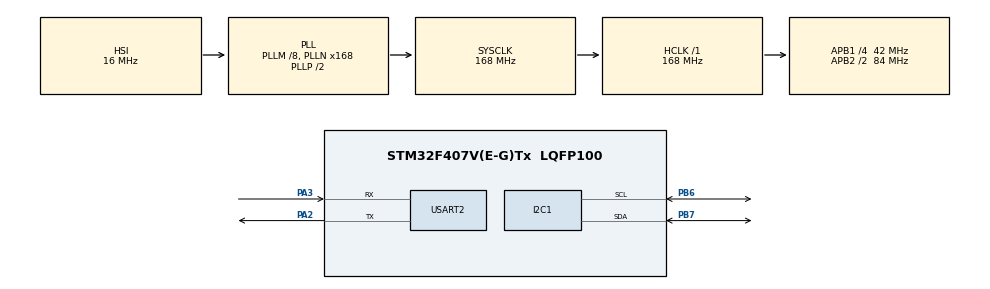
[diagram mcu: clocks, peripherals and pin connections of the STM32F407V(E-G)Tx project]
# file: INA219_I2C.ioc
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Mcu.Family=STM32F4
Mcu.Name=STM32F407V(E-G)Tx
Mcu.Package=LQFP100
NVIC.PriorityGroup=NVIC_PRIORITYGROUP_0
PA13.Mode=Serial_Wire
PA13.Signal=SYS_JTMS-SWDIO
PA14.Mode=Serial_Wire
PA14.Signal=SYS_JTCK-SWCLK
PA2.Mode=Asynchronous
PA2.Signal=USART2_TX
PA3.Mode=Asynchronous
PA3.Signal=USART2_RX
PB6.Mode=I2C
PB6.Signal=I2C1_SCL
PB7.Mode=I2C
PB7.Signal=I2C1_SDA
PC14-OSC32_IN.Mode=LSE-External-Oscillator
PC14-OSC32_IN.Signal=RCC_OSC32_IN
PC15-OSC32_OUT.Mode=LSE-External-Oscillator
PC15-OSC32_OUT.Signal=RCC_OSC32_OUT
PH0-OSC_IN.Mode=HSE-External-Oscillator
PH0-OSC_IN.Signal=RCC_OSC_IN
PH1-OSC_OUT.Mode=HSE-External-Oscillator
PH1-OSC_OUT.Signal=RCC_OSC_OUT
ProjectManager.HeapSize=0x200
ProjectManager.StackSize=0x400
ProjectManager.TargetToolchain=STM32CubeIDE
RCC.48MHZClocksFreq_Value=48000000
RCC.AHBFreq_Value=168000000
RCC.APB1CLKDivider=RCC_HCLK_DIV4
RCC.APB1Freq_Value=42000000
RCC.APB1TimFreq_Value=84000000
RCC.APB2CLKDivider=RCC_HCLK_DIV2
RCC.APB2Freq_Value=84000000
RCC.APB2TimFreq_Value=168000000
RCC.CortexFreq_Value=168000000
RCC.HCLKFreq_Value=168000000
RCC.HSE_VALUE=8000000
RCC.HSI_VALUE=16000000
RCC.PLLM=8
RCC.PLLN=168
RCC.PLLQ=7
RCC.SYSCLKFreq_VALUE=168000000
RCC.SYSCLKSource=RCC_SYSCLKSOURCE_PLLCLK
RCC.VCOOutputFreq_Value=336000000
USART2.VirtualMode=VM_ASYNC
board=STM32F407G-DISC1

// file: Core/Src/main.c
/* USER CODE BEGIN Header */
/**
  ******************************************************************************
  * @file           : main.c
  * @brief          : Main program body
  ******************************************************************************
  * @attention
  *
  * Copyright (c) 2026 STMicroelectronics.
  * All rights reserved.
  *
  * This software is licensed under terms that can be found in the LICENSE file
  * in the root directory of this software component.
  * If no LICENSE file comes with this software, it is provided AS-IS.
  *
  ******************************************************************************
  */
/* USER CODE END Header */
#include "main.h"

/* USER CODE BEGIN Includes */
#include <stdio.h>
#include <string.h>
/* USER CODE END Includes */

/* USER CODE BEGIN PD */
#define INA219_ADDR (0x40 << 1)
/* USER CODE END PD */

I2C_HandleTypeDef hi2c1;

UART_HandleTypeDef huart2;

/* USER CODE BEGIN PV */
float Voltage;
float Current;
float Power;
/* USER CODE END PV */

void SystemClock_Config(void);
static void MX_GPIO_Init(void);
static void MX_I2C1_Init(void);
static void MX_USART2_UART_Init(void);

/* USER CODE BEGIN 0 */
int _write(int file, char *ptr, int len)
{
    HAL_UART_Transmit(&huart2, (uint8_t *)ptr, len, HAL_MAX_DELAY);
    return len;
}

uint16_t INA219_ReadRegister(uint8_t reg)
{
    uint8_t data[2];
    uint16_t value;

    HAL_I2C_Mem_Read(&hi2c1,
                     INA219_ADDR,
                     reg,
                     I2C_MEMADD_SIZE_8BIT,
                     data,
                     2,
                     HAL_MAX_DELAY);

    value = (data[0] << 8) | data[1];

    return value;
}

void INA219_WriteRegister(uint8_t reg, uint16_t value)
{
    uint8_t data[2];

    data[0] = value >> 8;
    data[1] = value & 0xFF;

    HAL_I2C_Mem_Write(&hi2c1,
                      INA219_ADDR,
                      reg,
                      I2C_MEMADD_SIZE_8BIT,
                      data,
                      2,
                      HAL_MAX_DELAY);
}

void INA219_Init(void)
{
    INA219_WriteRegister(0x05,4096);
    INA219_WriteRegister(0x00,0x399F);
}

float INA219_GetBusVoltage()
{
    uint16_t value;

    value = INA219_ReadRegister(0x02);

    value >>=3;

    return value*0.004;
}

float INA219_GetCurrent()
{
    int16_t value;

    value = INA219_ReadRegister(0x04);

    return value*0.1;
}

float INA219_GetPower()
{
    uint16_t value;

    value = INA219_ReadRegister(0x03);

    return value*2;
}
/* USER CODE END 0 */

int main(void)
{

  /* MCU Configuration--------------------------------------------------------*/

  /* Reset of all peripherals, Initializes the Flash interface and the Systick. */
  HAL_Init();

  /* Configure the system clock */
  SystemClock_Config();

  /* Initialize all configured peripherals */
  MX_GPIO_Init();
  MX_I2C1_Init();
  MX_USART2_UART_Init();
  INA219_Init();

  /* Infinite loop */
  /* USER CODE BEGIN WHILE */
  while (1)
  {
	  Voltage = INA219_GetBusVoltage();

	  Current = INA219_GetCurrent();

	  Power = INA219_GetPower();

	  printf("Voltage = %.2f V\r\n",Voltage);

	  printf("Current = %.2f mA\r\n",Current);

	  printf("Power = %.2f mW\r\n",Power);

	  printf("----------------------\r\n");

	  HAL_Delay(1000);
    /* USER CODE END WHILE */

  }
}

void SystemClock_Config(void)
{
  RCC_OscInitTypeDef RCC_OscInitStruct = {0};
  RCC_ClkInitTypeDef RCC_ClkInitStruct = {0};

  /** Configure the main internal regulator output voltage
  */
  __HAL_RCC_PWR_CLK_ENABLE();
  __HAL_PWR_VOLTAGESCALING_CONFIG(PWR_REGULATOR_VOLTAGE_SCALE1);

  /** Initializes the RCC Oscillators according to the specified parameters
  * in the RCC_OscInitTypeDef structure.
  */
  RCC_OscInitStruct.OscillatorType = RCC_OSCILLATORTYPE_HSI;
  RCC_OscInitStruct.HSIState = RCC_HSI_ON;
  RCC_OscInitStruct.HSICalibrationValue = RCC_HSICALIBRATION_DEFAULT;
  RCC_OscInitStruct.PLL.PLLState = RCC_PLL_ON;
  RCC_OscInitStruct.PLL.PLLSource = RCC_PLLSOURCE_HSI;
  RCC_OscInitStruct.PLL.PLLM = 8;
  RCC_OscInitStruct.PLL.PLLN = 168;
  RCC_OscInitStruct.PLL.PLLP = RCC_PLLP_DIV2;
  RCC_OscInitStruct.PLL.PLLQ = 7;
  if (HAL_RCC_OscConfig(&RCC_OscInitStruct) != HAL_OK)
  {
    Error_Handler();
  }

  /** Initializes the CPU, AHB and APB buses clocks
  */
  RCC_ClkInitStruct.ClockType = RCC_CLOCKTYPE_HCLK|RCC_CLOCKTYPE_SYSCLK
                              |RCC_CLOCKTYPE_PCLK1|RCC_CLOCKTYPE_PCLK2;
  RCC_ClkInitStruct.SYSCLKSource = RCC_SYSCLKSOURCE_PLLCLK;
  RCC_ClkInitStruct.AHBCLKDivider = RCC_SYSCLK_DIV1;
  RCC_ClkInitStruct.APB1CLKDivider = RCC_HCLK_DIV4;
  RCC_ClkInitStruct.APB2CLKDivider = RCC_HCLK_DIV2;

  if (HAL_RCC_ClockConfig(&RCC_ClkInitStruct, FLASH_LATENCY_5) != HAL_OK)
  {
    Error_Handler();
  }
}

static void MX_I2C1_Init(void)
{

  hi2c1.Instance = I2C1;
  hi2c1.Init.ClockSpeed = 100000;
  hi2c1.Init.DutyCycle = I2C_DUTYCYCLE_2;
  hi2c1.Init.OwnAddress1 = 0;
  hi2c1.Init.AddressingMode = I2C_ADDRESSINGMODE_7BIT;
  hi2c1.Init.DualAddressMode = I2C_DUALADDRESS_DISABLE;
  hi2c1.Init.OwnAddress2 = 0;
  hi2c1.Init.GeneralCallMode = I2C_GENERALCALL_DISABLE;
  hi2c1.Init.NoStretchMode = I2C_NOSTRETCH_DISABLE;
  if (HAL_I2C_Init(&hi2c1) != HAL_OK)
  {
    Error_Handler();
  }

}

static void MX_USART2_UART_Init(void)
{

  huart2.Instance = USART2;
  huart2.Init.BaudRate = 115200;
  huart2.Init.WordLength = UART_WORDLENGTH_8B;
  huart2.Init.StopBits = UART_STOPBITS_1;
  huart2.Init.Parity = UART_PARITY_NONE;
  huart2.Init.Mode = UART_MODE_TX_RX;
  huart2.Init.HwFlowCtl = UART_HWCONTROL_NONE;
  huart2.Init.OverSampling = UART_OVERSAMPLING_16;
  if (HAL_UART_Init(&huart2) != HAL_OK)
  {
    Error_Handler();
  }

}

static void MX_GPIO_Init(void)
{

  /* GPIO Ports Clock Enable */
  __HAL_RCC_GPIOC_CLK_ENABLE();
  __HAL_RCC_GPIOH_CLK_ENABLE();
  __HAL_RCC_GPIOA_CLK_ENABLE();
  __HAL_RCC_GPIOB_CLK_ENABLE();

}

void Error_Handler(void)
{
  __disable_irq();
  while (1)
  {
  }
}
